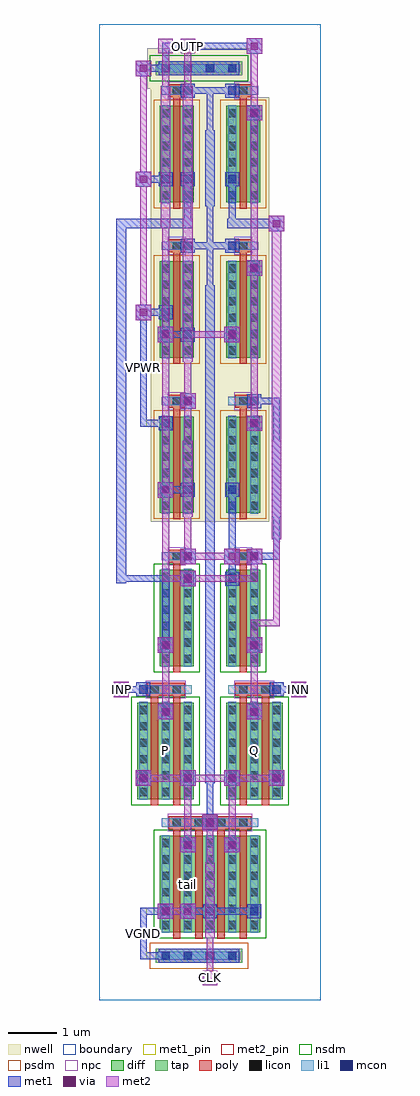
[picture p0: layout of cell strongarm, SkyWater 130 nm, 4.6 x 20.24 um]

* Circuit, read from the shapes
.subckt strongarm CLK INN INP OUTN OUTP P Q VGND VPWR tail
XM1 P INP tail VGND sky130_fd_pr__nfet_01v8 w=2 l=0.15 m=2
XM2 tail CLK VGND VGND sky130_fd_pr__nfet_01v8 w=2 l=0.15 m=4
XM3 OUTN OUTP P VGND sky130_fd_pr__nfet_01v8 w=2 l=0.15
XM4 Q INN tail VGND sky130_fd_pr__nfet_01v8 w=2 l=0.15 m=2
XM5 Q OUTN OUTP VGND sky130_fd_pr__nfet_01v8 w=2 l=0.15
XM6 OUTN OUTP VPWR VPWR sky130_fd_pr__pfet_01v8 w=2 l=0.15
XM7 OUTN CLK VPWR VPWR sky130_fd_pr__pfet_01v8 w=2 l=0.15
XM8 P CLK VPWR VPWR sky130_fd_pr__pfet_01v8 w=2 l=0.15
XM9 VPWR OUTN OUTP VPWR sky130_fd_pr__pfet_01v8 w=2 l=0.15
XM10 VPWR CLK OUTP VPWR sky130_fd_pr__pfet_01v8 w=2 l=0.15
XM11 VPWR CLK Q VPWR sky130_fd_pr__pfet_01v8 w=2 l=0.15
.ends

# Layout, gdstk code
import gdstk
lib = gdstk.Library(unit=1e-6, precision=1e-09)
def R(c, l, rs):  # rectangles x0, y0, x1, y1
    for r in rs: c.add(gdstk.rectangle(r[:2], r[2:], *l))
def A(c, l, x, y, w, h, nx, ny, dx, dy):  # array of equal rectangles
    R(c, l, [(x+i*dx, y+j*dy, x+i*dx+w, y+j*dy+h) for i in range(nx) for j in range(ny)])
nwell = (64, 20)
diff = (65, 20)
tap = (65, 44)
poly = (66, 20)
licon = (66, 44)
li1 = (67, 20)
mcon = (67, 44)
met1_pin = (68, 16)
met1 = (68, 20)
via = (68, 44)
met2_pin = (69, 16)
met2 = (69, 20)
nsdm = (93, 44)
psdm = (94, 20)
npc = (95, 20)
boundary = (235, 4)

strongarm = lib.new_cell('strongarm')
R(strongarm, nwell, [(1.075,9.92,3.525,18.72), (1.075,18.72,3.145,18.9), (0.995,18.9,3.145,19.74)])
A(strongarm, diff, 1.255, 10.1, 0.71, 2, 1, 3, 0, 3.22)
A(strongarm, diff, 2.635, 10.1, 0.71, 2, 1, 3, 0, 3.22)
R(strongarm, diff, [(1.255,1.405,3.345,3.405), (0.795,4.165,1.965,6.165), (2.635,4.165,3.805,6.165), (1.255,6.925,1.965,8.925), (2.635,6.925,3.345,8.925)])
R(strongarm, tap, [(1.175,0.775,2.965,1.065), (1.175,19.175,2.965,19.465)])
A(strongarm, poly, 1.535, 1.275, 0.15, 2.405, 4, 1, 0.46, 0)
A(strongarm, poly, 1.445, 9.065, 0.33, 0.27, 1, 4, 0, 3.22)
A(strongarm, poly, 2.825, 9.065, 0.33, 0.27, 1, 4, 0, 3.22)
A(strongarm, poly, 1.535, 9.97, 0.15, 2.45, 1, 3, 0, 3.22)
A(strongarm, poly, 2.915, 9.97, 0.15, 2.45, 1, 3, 0, 3.22)
R(strongarm, poly, [(1.445,3.545,3.155,3.815), (1.075,4.035,1.225,6.44), (1.535,4.035,1.685,6.44), (2.915,4.035,3.065,6.44), (3.375,4.035,3.525,6.44), (0.985,6.305,1.775,6.575), (2.825,6.305,3.615,6.575), (1.535,6.795,1.685,9.2), (2.915,6.795,3.065,9.2)])
A(strongarm, licon, 1.295, 0.835, 0.17, 0.17, 4, 2, 0.46, 18.4)
A(strongarm, licon, 1.295, 1.47, 0.17, 0.17, 5, 6, 0.46, 0.34)
A(strongarm, licon, 1.525, 3.595, 0.17, 0.17, 4, 1, 0.46, 0)
A(strongarm, licon, 0.835, 4.23, 0.17, 0.17, 3, 6, 0.46, 0.34)
A(strongarm, licon, 2.675, 4.23, 0.17, 0.17, 3, 6, 0.46, 0.34)
A(strongarm, licon, 1.295, 6.99, 0.17, 0.17, 1, 6, 0, 0.34)
A(strongarm, licon, 1.755, 6.99, 0.17, 0.17, 1, 6, 0, 0.34)
A(strongarm, licon, 2.675, 6.99, 0.17, 0.17, 1, 6, 0, 0.34)
A(strongarm, licon, 3.135, 6.99, 0.17, 0.17, 1, 6, 0, 0.34)
A(strongarm, licon, 1.525, 9.115, 0.17, 0.17, 1, 4, 0, 3.22)
A(strongarm, licon, 2.905, 9.115, 0.17, 0.17, 1, 4, 0, 3.22)
A(strongarm, licon, 1.295, 10.165, 0.17, 0.17, 1, 6, 0, 0.34)
A(strongarm, licon, 1.755, 10.165, 0.17, 0.17, 1, 6, 0, 0.34)
A(strongarm, licon, 2.675, 10.165, 0.17, 0.17, 1, 6, 0, 0.34)
A(strongarm, licon, 3.135, 10.165, 0.17, 0.17, 1, 6, 0, 0.34)
A(strongarm, licon, 1.295, 13.385, 0.17, 0.17, 1, 6, 0, 0.34)
A(strongarm, licon, 1.755, 13.385, 0.17, 0.17, 1, 6, 0, 0.34)
A(strongarm, licon, 2.675, 13.385, 0.17, 0.17, 1, 6, 0, 0.34)
A(strongarm, licon, 3.135, 13.385, 0.17, 0.17, 1, 6, 0, 0.34)
A(strongarm, licon, 1.295, 16.605, 0.17, 0.17, 1, 6, 0, 0.34)
A(strongarm, licon, 1.755, 16.605, 0.17, 0.17, 1, 6, 0, 0.34)
A(strongarm, licon, 2.675, 16.605, 0.17, 0.17, 1, 6, 0, 0.34)
A(strongarm, licon, 3.135, 16.605, 0.17, 0.17, 1, 6, 0, 0.34)
R(strongarm, licon, [(1.065,6.355,1.235,6.525), (1.525,6.355,1.695,6.525), (2.905,6.355,3.075,6.525), (3.365,6.355,3.535,6.525)])
A(strongarm, li1, 1.295, 1.39, 0.17, 2.03, 5, 1, 0.46, 0)
A(strongarm, li1, 0.835, 4.15, 0.17, 2.03, 3, 1, 0.46, 0)
A(strongarm, li1, 2.675, 4.15, 0.17, 2.03, 3, 1, 0.46, 0)
A(strongarm, li1, 1.295, 9.115, 0.63, 0.17, 1, 4, 0, 3.22)
A(strongarm, li1, 2.675, 9.115, 0.63, 0.17, 1, 4, 0, 3.22)
A(strongarm, li1, 1.295, 10.085, 0.17, 2.03, 1, 3, 0, 3.22)
A(strongarm, li1, 1.755, 10.085, 0.17, 2.03, 1, 3, 0, 3.22)
A(strongarm, li1, 2.675, 10.085, 0.17, 2.03, 1, 3, 0, 3.22)
A(strongarm, li1, 3.135, 10.085, 0.17, 2.03, 1, 3, 0, 3.22)
R(strongarm, li1, [(1.215,0.835,2.925,1.005), (1.295,3.595,3.305,3.765), (0.835,6.355,1.925,6.525), (2.675,6.355,3.765,6.525), (1.295,6.91,1.465,8.94), (1.755,6.91,1.925,8.94), (2.675,6.91,2.845,8.94), (3.135,6.91,3.305,8.94), (1.215,19.235,2.925,19.405)])
A(strongarm, mcon, 1.295, 0.835, 0.17, 0.17, 4, 2, 0.46, 18.4)
A(strongarm, mcon, 1.295, 1.755, 0.17, 0.17, 3, 1, 0.92, 0)
A(strongarm, mcon, 0.835, 4.515, 0.17, 0.17, 4, 1, 0.92, 0)
R(strongarm, mcon, [(1.755,3.135,1.925,3.305), (2.675,3.135,2.845,3.305), (2.215,3.595,2.385,3.765), (1.295,5.895,1.465,6.065), (3.135,5.895,3.305,6.065), (0.835,6.355,1.005,6.525), (3.595,6.355,3.765,6.525), (1.295,7.275,1.465,7.445), (3.135,7.275,3.305,7.445), (1.755,8.655,1.925,8.825), (2.675,8.655,2.845,8.825), (1.755,9.115,1.925,9.285), (3.135,9.115,3.305,9.285), (1.755,10.495,1.925,10.665), (2.675,10.495,2.845,10.665), (1.295,11.875,1.465,12.045), (3.135,11.875,3.305,12.045), (1.755,12.335,1.925,12.505), (3.135,12.335,3.305,12.505), (1.755,13.715,1.925,13.885), (2.675,13.715,2.845,13.885), (1.295,14.175,1.465,14.345), (3.135,15.095,3.305,15.265), (1.755,15.555,1.925,15.725), (2.675,15.555,2.845,15.725), (1.295,16.935,1.465,17.105), (1.755,16.935,1.925,17.105), (2.675,16.935,2.845,17.105), (3.135,18.315,3.305,18.485), (1.755,18.775,1.925,18.945), (2.675,18.775,2.845,18.945)])
R(strongarm, met1_pin, [(0.85,0.85,0.99,1.91), (0.85,11.89,0.99,14.33)])
A(strongarm, met1, 1.235, 1.695, 0.29, 0.29, 3, 1, 0.92, 0)
A(strongarm, met1, 0.76, 4.44, 0.32, 0.32, 4, 1, 0.92, 0)
A(strongarm, met1, 0.775, 4.455, 0.29, 0.29, 4, 1, 0.92, 0)
A(strongarm, met1, 1.22, 7.2, 0.32, 0.32, 1, 3, 0, 3.22)
A(strongarm, met1, 3.06, 11.8, 0.32, 0.32, 1, 3, 0, 3.22)
R(strongarm, met1, [(1.235,0.775,2.905,1.065), (0.85,0.85,0.99,1.91), (0.85,0.85,1.45,0.99), (1.31,0.85,1.45,0.99), (1.22,1.68,1.54,2), (1.68,1.68,2,2), (0.85,1.77,1.45,1.91), (1.77,1.77,2.37,1.91), (2.23,1.77,3.29,1.91), (1.68,3.06,2,3.38), (2.6,3.06,2.92,3.38), (1.695,3.075,1.985,3.365), (2.615,3.075,2.905,3.365), (2.14,3.52,2.46,3.84), (2.155,3.535,2.445,3.825), (2.23,3.61,2.37,4.67), (2.2,4.5,2.4,14.82), (1.22,5.82,1.54,6.14), (3.06,5.82,3.38,6.14), (1.235,5.835,1.525,6.125), (3.075,5.835,3.365,6.125), (0.3,6.28,0.62,6.6), (3.98,6.28,4.3,6.6), (0.775,6.295,1.065,6.585), (3.535,6.295,3.825,6.585), (0.39,6.37,0.99,6.51), (3.61,6.37,4.21,6.51), (3.06,7.2,3.38,7.52), (1.235,7.215,1.525,7.505), (3.075,7.215,3.365,7.505), (1.31,7.29,1.45,8.81), (1.68,8.58,2,8.9), (1.695,8.595,1.985,8.885), (2.615,8.595,2.905,8.885), (0.36,8.64,0.56,16.2), (0.39,8.67,1.45,8.81), (2.69,8.67,2.83,9.27), (1.68,9.04,2,9.36), (2.6,9.04,2.92,9.36), (3.06,9.04,3.38,9.36), (1.695,9.055,1.985,9.345), (3.075,9.055,3.365,9.345), (2.69,9.13,2.83,10.65), (3.15,9.13,3.75,9.27), (3.61,9.13,3.75,10.19), (3.58,10.02,3.78,11.6), (1.695,10.435,1.985,10.725), (2.615,10.435,2.905,10.725), (1.31,10.51,1.91,10.65), (3.61,11.43,3.75,12.49), (1.235,11.815,1.525,12.105), (3.075,11.815,3.365,12.105), (0.85,11.89,1.45,12.03), (0.85,11.89,0.99,14.33), (1.68,12.26,2,12.58), (1.695,12.275,1.985,12.565), (3.075,12.275,3.365,12.565), (3.15,12.35,3.75,12.49), (2.6,13.64,2.92,13.96), (1.695,13.655,1.985,13.945), (2.615,13.655,2.905,13.945), (1.31,13.73,1.91,13.87), (0.76,14.1,1.08,14.42), (1.235,14.115,1.525,14.405), (0.85,14.19,1.45,14.33), (2.23,14.65,2.37,15.71), (3.075,15.035,3.365,15.325), (1.695,15.495,1.985,15.785), (2.615,15.495,2.905,15.785), (1.77,15.57,2.83,15.71), (2.23,15.57,2.37,16.63), (3.52,15.94,3.84,16.26), (0.36,16,1.94,16.2), (2.66,16,3.78,16.2), (1.77,16.03,1.91,17.09), (2.69,16.03,2.83,17.09), (2.2,16.46,2.4,18.04), (0.76,16.86,1.08,17.18), (1.235,16.875,1.525,17.165), (1.695,16.875,1.985,17.165), (2.615,16.875,2.905,17.165), (0.85,16.95,1.45,17.09), (2.23,17.87,2.37,18.93), (3.075,18.255,3.365,18.545), (1.695,18.715,1.985,19.005), (2.615,18.715,2.905,19.005), (1.77,18.79,2.37,18.93), (2.23,18.79,2.83,18.93), (0.76,19.16,1.08,19.48), (1.235,19.175,2.905,19.465), (0.85,19.25,1.45,19.39), (1.31,19.25,1.45,19.39), (1.31,19.25,1.45,19.85), (3.06,19.62,3.38,19.94), (1.31,19.71,3.29,19.85)])
A(strongarm, via, 0.845, 4.525, 0.15, 0.15, 4, 1, 0.92, 0)
A(strongarm, via, 1.305, 7.285, 0.15, 0.15, 1, 3, 0, 3.22)
A(strongarm, via, 3.145, 11.885, 0.15, 0.15, 1, 3, 0, 3.22)
R(strongarm, via, [(1.305,1.765,1.455,1.915), (1.765,1.765,1.915,1.915), (1.765,3.145,1.915,3.295), (2.685,3.145,2.835,3.295), (2.225,3.605,2.375,3.755), (1.305,5.905,1.455,6.055), (3.145,5.905,3.295,6.055), (0.385,6.365,0.535,6.515), (4.065,6.365,4.215,6.515), (3.145,7.285,3.295,7.435), (1.765,8.665,1.915,8.815), (1.765,9.125,1.915,9.275), (2.685,9.125,2.835,9.275), (3.145,9.125,3.295,9.275), (1.765,12.345,1.915,12.495), (2.685,13.725,2.835,13.875), (0.845,14.185,0.995,14.335), (3.605,16.025,3.755,16.175), (0.845,16.945,0.995,17.095), (0.845,19.245,0.995,19.395), (3.145,19.705,3.295,19.855)])
R(strongarm, met2_pin, [(2.15,0.31,2.45,0.61), (0.31,6.29,0.61,6.59), (3.99,6.29,4.29,6.59), (1.23,19.63,1.53,19.93), (1.69,19.63,1.99,19.93)])
A(strongarm, met2, 0.76, 4.44, 0.32, 0.32, 4, 1, 0.92, 0)
A(strongarm, met2, 0.85, 4.53, 1.06, 0.14, 3, 1, 0.92, 0)
A(strongarm, met2, 1.22, 7.2, 0.32, 0.32, 1, 3, 0, 3.22)
A(strongarm, met2, 3.06, 11.8, 0.32, 0.32, 1, 3, 0, 3.22)
R(strongarm, met2, [(2.15,0.31,2.45,0.61), (2.23,0.39,2.37,0.53), (2.23,0.39,2.37,1.45), (2.2,1.28,2.4,2.86), (1.22,1.68,1.54,2), (1.68,1.68,2,2), (1.31,1.77,1.91,1.91), (2.23,2.69,2.37,3.75), (1.68,3.06,2,3.38), (2.6,3.06,2.92,3.38), (1.77,3.15,1.91,4.67), (2.69,3.15,2.83,4.67), (2.14,3.52,2.46,3.84), (1.22,5.82,1.54,6.14), (3.06,5.82,3.38,6.14), (1.31,5.91,1.45,7.43), (3.15,5.91,3.29,7.43), (0.3,6.28,0.62,6.6), (3.98,6.28,4.3,6.6), (0.31,6.29,0.61,6.59), (3.99,6.29,4.29,6.59), (0.39,6.37,0.53,6.51), (4.07,6.37,4.21,6.51), (3.06,7.2,3.38,7.52), (3.15,7.29,3.29,7.89), (3.15,7.75,3.75,7.89), (3.61,7.75,3.75,9.73), (1.68,8.58,2,8.9), (1.31,8.67,1.91,8.81), (1.31,8.67,1.45,10.65), (1.77,8.67,3.29,8.81), (3.15,8.67,3.29,9.27), (1.68,9.04,2,9.36), (2.6,9.04,2.92,9.36), (3.06,9.04,3.38,9.36), (1.77,9.13,1.91,10.19), (1.77,9.13,2.83,9.27), (3.58,9.56,3.78,16.2), (1.74,10.02,1.94,11.6), (1.31,10.51,1.45,13.87), (1.77,11.43,1.91,12.49), (3.15,11.89,3.29,15.25), (1.68,12.26,2,12.58), (1.77,12.35,1.91,13.41), (1.74,13.24,1.94,13.9), (2.6,13.64,2.92,13.96), (1.74,13.7,1.94,18.96), (1.31,13.73,1.45,16.17), (1.77,13.73,2.83,13.87), (0.76,14.1,1.08,14.42), (0.85,14.19,0.99,17.09), (3.15,15.11,3.29,18.47), (3.52,15.94,3.84,16.26), (1.28,16,1.48,18.96), (0.76,16.86,1.08,17.18), (0.85,16.95,0.99,19.39), (3.15,18.33,3.29,19.85), (1.31,18.79,1.45,19.85), (1.77,18.79,1.91,19.85), (0.76,19.16,1.08,19.48), (3.06,19.62,3.38,19.94), (1.23,19.63,1.53,19.93), (1.69,19.63,1.99,19.93), (1.31,19.71,1.45,19.85), (1.77,19.71,1.91,19.85)])
R(strongarm, nsdm, [(1.13,1.28,3.47,3.53), (0.67,4.04,2.09,6.29), (2.51,4.04,3.93,6.29), (1.13,6.8,2.09,9.05), (2.51,6.8,3.47,9.05), (1.05,19.05,3.09,19.59)])
A(strongarm, psdm, 1.13, 9.975, 0.96, 2.25, 1, 3, 0, 3.22)
A(strongarm, psdm, 2.51, 9.975, 0.96, 2.25, 1, 3, 0, 3.22)
R(strongarm, psdm, [(1.05,0.65,3.09,1.19)])
A(strongarm, npc, 1.425, 9.015, 0.37, 0.37, 1, 4, 0, 3.22)
A(strongarm, npc, 2.805, 9.015, 0.37, 0.37, 1, 4, 0, 3.22)
R(strongarm, npc, [(1.425,3.495,3.175,3.865), (0.965,6.255,1.795,6.625), (2.805,6.255,3.635,6.625)])
R(strongarm, boundary, [(0,0,4.6,20.24)])
strongarm.add(gdstk.Label('tail', (1.84,2.405), layer=67, texttype=5))
strongarm.add(gdstk.Label('P', (1.38,5.165), layer=67, texttype=5))
strongarm.add(gdstk.Label('Q', (3.22,5.165), layer=67, texttype=5))
strongarm.add(gdstk.Label('VPWR', (0.92,13.11), layer=68, texttype=5))
strongarm.add(gdstk.Label('VGND', (0.92,1.38), layer=68, texttype=5))
strongarm.add(gdstk.Label('CLK', (2.3,0.46), layer=69, texttype=5))
strongarm.add(gdstk.Label('INP', (0.46,6.44), layer=69, texttype=5))
strongarm.add(gdstk.Label('INN', (4.14,6.44), layer=69, texttype=5))
strongarm.add(gdstk.Label('OUTP', (1.84,19.78), layer=69, texttype=5))
strongarm.add(gdstk.Label('OUTN', (1.38,19.78), layer=69, texttype=5))
strongarm.add(gdstk.Label('VPWR', (0.92,13.11), layer=68, texttype=16))
strongarm.add(gdstk.Label('VGND', (0.92,1.38), layer=68, texttype=16))
strongarm.add(gdstk.Label('CLK', (2.3,0.46), layer=69, texttype=16))
strongarm.add(gdstk.Label('INP', (0.46,6.44), layer=69, texttype=16))
strongarm.add(gdstk.Label('INN', (4.14,6.44), layer=69, texttype=16))
strongarm.add(gdstk.Label('OUTP', (1.84,19.78), layer=69, texttype=16))
strongarm.add(gdstk.Label('OUTN', (1.38,19.78), layer=69, texttype=16))

lib.write_gds('strongarm.gds')
